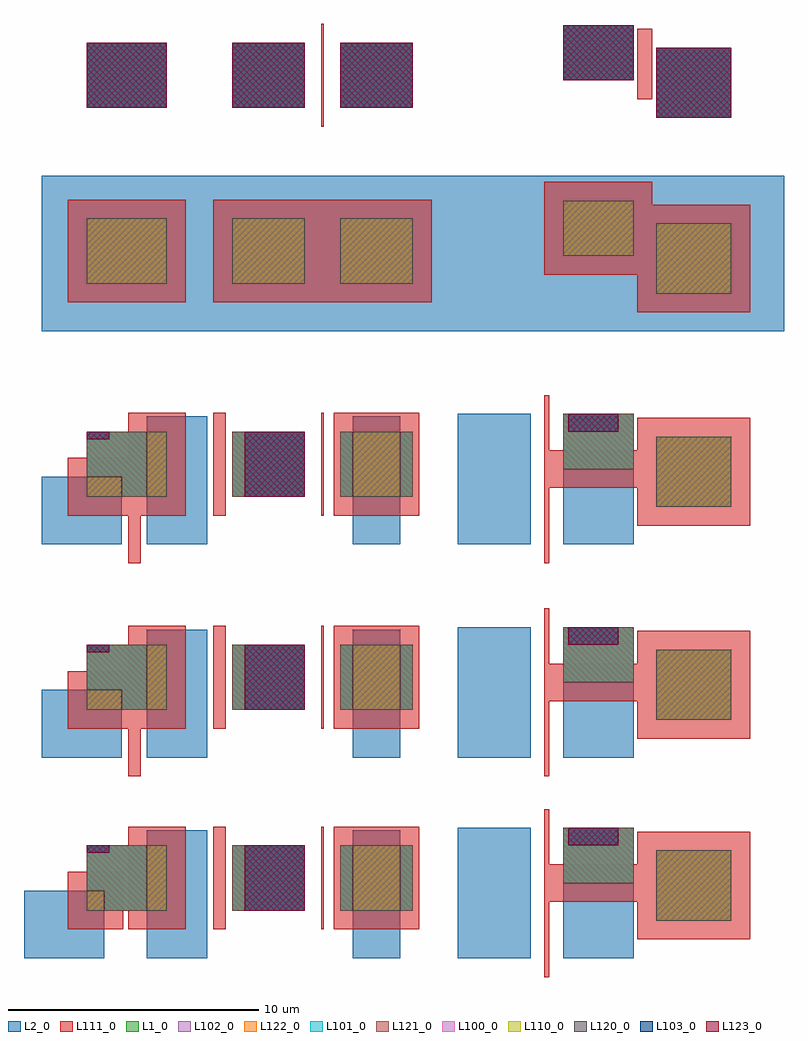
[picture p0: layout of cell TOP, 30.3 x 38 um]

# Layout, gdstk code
import gdstk
lib = gdstk.Library(unit=1e-6, precision=1e-09)
def R(c, l, rs):  # rectangles x0, y0, x1, y1
    for r in rs: c.add(gdstk.rectangle(r[:2], r[2:], *l))
def P(c, l, *ps):  # polygons
    for p in ps: c.add(gdstk.Polygon(p, *l))
L1_0 = (1, 0)
L2_0 = (2, 0)
L100_0 = (100, 0)
L101_0 = (101, 0)
L102_0 = (102, 0)
L103_0 = (103, 0)
L110_0 = (110, 0)
L111_0 = (111, 0)
L120_0 = (120, 0)
L121_0 = (121, 0)
L122_0 = (122, 0)
L123_0 = (123, 0)

child1 = lib.new_cell('CHILD1')
R(child1, L1_0, [(22.7,0,25.7,2.8), (0,0.4,3.2,3), (5.8,0.4,8.7,3), (10.1,0.4,13,3), (19,1.5,21.8,3.7)])
R(child1, L111_0, [(9.35,-0.35,9.45,3.75), (21.95,0.75,22.55,3.55)])

subcell = lib.new_cell('SUBCELL')
R(subcell, L2_0, [(0,0,3.2,2.7), (4.9,0,7.3,5.1), (13.1,0,15,5.1), (17.3,0,20.2,5.2), (21.5,0,24.3,3), (25.2,1.5,28.2,4.3), (0.7,8,3.9,10.7), (4.9,8,7.3,13.1), (13.1,8,15,13.1), (17.3,8,20.2,13.2), (21.5,8,24.3,11), (25.2,9.5,28.2,12.3)])
R(subcell, L100_0, [(25.2,1.5,28.2,4.3), (2.5,1.9,3.2,2.7), (4.9,1.9,5.7,4.5), (13.1,1.9,15,4.5), (25.2,9.5,28.2,12.3), (2.5,9.9,3.9,10.7), (4.9,9.9,5.7,12.5), (13.1,9.9,15,12.5)])
R(subcell, L101_0, [(3.2,1.9,3.9,2.7), (8.3,1.9,11.2,4.5), (12.6,1.9,13.1,4.5), (15,1.9,15.5,4.5), (21.5,3,24.3,5.2), (8.3,9.9,11.2,12.5), (12.6,9.9,13.1,12.5), (15,9.9,15.5,12.5), (21.5,11,24.3,13.2)])
P(subcell, L101_0, [(3.9,1.9),(3.9,2.7),(2.5,2.7),(2.5,4.5),(4.9,4.5),(4.9,1.9)],
  [(3.9,9.9),(3.9,10.7),(2.5,10.7),(2.5,12.5),(4.9,12.5),(4.9,9.9)])
R(subcell, L102_0, [(25.2,1.5,28.2,4.3), (8.3,1.9,8.8,4.5), (12.6,1.9,15.5,4.5), (25.2,9.5,28.2,12.3), (8.3,9.9,8.8,12.5), (12.6,9.9,15.5,12.5)])
P(subcell, L102_0, [(21.5,3),(21.5,5.2),(21.7,5.2),(21.7,4.5),(23.7,4.5),(23.7,5.2),(24.3,5.2),(24.3,3)],
  [(21.5,11),(21.5,13.2),(21.7,13.2),(21.7,12.5),(23.7,12.5),(23.7,13.2),(24.3,13.2),(24.3,11)],
  [(2.5,1.9),(2.5,4.2),(3.4,4.2),(3.4,4.5),(5.7,4.5),(5.7,1.9)],
  [(2.5,9.9),(2.5,12.2),(3.4,12.2),(3.4,12.5),(5.7,12.5),(5.7,9.9)])
R(subcell, L103_0, [(8.8,1.9,11.2,4.5), (2.5,4.2,3.4,4.5), (21.7,4.5,23.7,5.2), (8.8,9.9,11.2,12.5), (2.5,12.2,3.4,12.5), (21.7,12.5,23.7,13.2)])
R(subcell, L110_0, [(25.2,1.5,28.2,4.3), (2.5,1.9,3.2,2.7), (4.9,1.9,5.7,4.5), (13.1,1.9,15,4.5), (25.2,9.5,28.2,12.3), (2.5,9.9,3.9,10.7), (4.9,9.9,5.7,12.5), (13.1,9.9,15,12.5)])
R(subcell, L111_0, [(20.75,-0.75,20.95,3.75), (20.75,-0.75,20.95,5.95), (24.45,0.75,25.05,3.75), (1.75,1.15,3.95,3.45), (4.15,1.15,6.45,5.25), (7.55,1.15,8.05,5.25), (12.35,1.15,15.75,5.25), (20.95,2.25,24.45,3.75), (4.15,7.25,4.65,11.45), (20.75,7.25,20.95,11.75), (20.75,7.25,20.95,13.95), (24.45,8.75,25.05,11.75), (7.55,9.15,8.05,13.25), (12.35,9.15,15.75,13.25), (20.95,10.25,24.45,11.75)])
P(subcell, L111_0, [(24.45,0.75),(24.45,2.25),(25.05,2.25),(25.05,5.05),(28.95,5.05),(28.95,0.75)],
  [(24.45,8.75),(24.45,10.25),(25.05,10.25),(25.05,13.05),(28.95,13.05),(28.95,8.75)],
  [(4.15,7.25),(4.15,9.15),(1.75,9.15),(1.75,11.45),(4.15,11.45),(4.15,13.25),(6.45,13.25),(6.45,9.15),(4.65,9.15),(4.65,7.25)])
R(subcell, L120_0, [(25.2,1.5,28.2,4.3), (2.5,1.9,3.2,2.7), (4.9,1.9,5.7,4.5), (13.1,1.9,15,4.5), (25.2,9.5,28.2,12.3), (2.5,9.9,3.9,10.7), (4.9,9.9,5.7,12.5), (13.1,9.9,15,12.5)])
R(subcell, L121_0, [(8.3,1.9,11.2,4.5), (12.6,1.9,13.1,4.5), (15,1.9,15.5,4.5), (21.5,3,24.3,5.2), (8.3,9.9,11.2,12.5), (12.6,9.9,13.1,12.5), (15,9.9,15.5,12.5), (21.5,11,24.3,13.2)])
P(subcell, L121_0, [(3.9,9.9),(3.9,10.7),(2.5,10.7),(2.5,12.5),(4.9,12.5),(4.9,9.9)],
  [(3.2,1.9),(3.2,2.7),(2.5,2.7),(2.5,4.5),(4.9,4.5),(4.9,1.9)])
R(subcell, L122_0, [(25.2,1.5,28.2,4.3), (8.3,1.9,8.8,4.5), (12.6,1.9,15.5,4.5), (25.2,9.5,28.2,12.3), (8.3,9.9,8.8,12.5), (12.6,9.9,15.5,12.5)])
P(subcell, L122_0, [(21.5,3),(21.5,5.2),(21.7,5.2),(21.7,4.5),(23.7,4.5),(23.7,5.2),(24.3,5.2),(24.3,3)],
  [(21.5,11),(21.5,13.2),(21.7,13.2),(21.7,12.5),(23.7,12.5),(23.7,13.2),(24.3,13.2),(24.3,11)],
  [(2.5,1.9),(2.5,4.2),(3.4,4.2),(3.4,4.5),(5.7,4.5),(5.7,1.9)],
  [(2.5,9.9),(2.5,12.2),(3.4,12.2),(3.4,12.5),(5.7,12.5),(5.7,9.9)])
R(subcell, L123_0, [(8.8,1.9,11.2,4.5), (2.5,4.2,3.4,4.5), (21.7,4.5,23.7,5.2), (8.8,9.9,11.2,12.5), (2.5,12.2,3.4,12.5), (21.7,12.5,23.7,13.2)])
subcell.add(gdstk.Reference(child1, (2.5,1.5)))
subcell.add(gdstk.Reference(child1, (2.5,9.5)))

top = lib.new_cell('TOP')
R(top, L2_0, [(0,16.5,3.2,19.2), (4.2,16.5,6.6,21.6), (12.4,16.5,14.3,21.6), (16.6,16.5,19.5,21.7), (20.8,16.5,23.6,19.5), (24.5,18,27.5,20.8), (0,25,29.6,31.2)])
R(top, L100_0, [(24.5,18,27.5,20.8), (1.8,18.4,3.2,19.2), (4.2,18.4,5,21), (12.4,18.4,14.3,21), (24.5,26.5,27.5,29.3), (1.8,26.9,5,29.5), (7.6,26.9,10.5,29.5), (11.9,26.9,14.8,29.5), (20.8,28,23.6,30.2)])
R(top, L101_0, [(7.6,18.4,10.5,21), (11.9,18.4,12.4,21), (14.3,18.4,14.8,21), (20.8,19.5,23.6,21.7), (24.5,33.5,27.5,36.3), (1.8,33.9,2.5,34.7), (2.5,33.9,3.2,34.7), (4.2,33.9,5,36.5), (7.6,33.9,10.5,36.5), (11.9,33.9,12.4,36.5), (12.4,33.9,14.3,36.5), (14.3,33.9,14.8,36.5), (20.8,35,23.6,37.2)])
P(top, L101_0, [(3.2,18.4),(3.2,19.2),(1.8,19.2),(1.8,21),(4.2,21),(4.2,18.4)],
  [(3.2,33.9),(3.2,34.7),(1.8,34.7),(1.8,36.5),(4.2,36.5),(4.2,33.9)])
R(top, L102_0, [(24.5,18,27.5,20.8), (7.6,18.4,8.1,21), (11.9,18.4,14.8,21), (24.5,26.5,27.5,29.3), (1.8,26.9,5,29.5), (7.6,26.9,10.5,29.5), (11.9,26.9,14.8,29.5), (20.8,28,23.6,30.2)])
P(top, L102_0, [(20.8,19.5),(20.8,21.7),(21,21.7),(21,21),(23,21),(23,21.7),(23.6,21.7),(23.6,19.5)],
  [(1.8,18.4),(1.8,20.7),(2.7,20.7),(2.7,21),(5,21),(5,18.4)])
R(top, L103_0, [(8.1,18.4,10.5,21), (1.8,20.7,2.7,21), (21,21,23,21.7), (24.5,33.5,27.5,36.3), (7.6,33.9,8.1,36.5), (8.1,33.9,10.5,36.5), (11.9,33.9,14.8,36.5), (1.8,36.2,2.7,36.5), (21,36.5,23,37.2)])
P(top, L103_0, [(20.8,35),(20.8,37.2),(21,37.2),(21,36.5),(23,36.5),(23,37.2),(23.6,37.2),(23.6,35)],
  [(1.8,33.9),(1.8,36.2),(2.7,36.2),(2.7,36.5),(5,36.5),(5,33.9)])
R(top, L110_0, [(24.5,18,27.5,20.8), (1.8,18.4,3.2,19.2), (4.2,18.4,5,21), (12.4,18.4,14.3,21), (24.5,26.5,27.5,29.3), (1.8,26.9,5,29.5), (7.6,26.9,10.5,29.5), (11.9,26.9,14.8,29.5), (20.8,28,23.6,30.2)])
R(top, L111_0, [(3.45,15.75,3.95,19.95), (20.05,15.75,20.25,20.25), (20.05,15.75,20.25,22.45), (23.75,17.25,24.35,20.25), (6.85,17.65,7.35,21.75), (11.65,17.65,15.05,21.75), (20.25,18.75,23.75,20.25), (1.05,26.15,5.75,30.25), (6.85,26.15,11.15,30.25), (11.25,26.15,15.55,30.25)])
P(top, L111_0, [(23.75,17.25),(23.75,18.75),(24.35,18.75),(24.35,21.55),(28.25,21.55),(28.25,17.25)],
  [(23.75,25.75),(23.75,27.25),(24.35,27.25),(24.35,30.05),(28.25,30.05),(28.25,25.75)],
  [(3.45,15.75),(3.45,17.65),(1.05,17.65),(1.05,19.95),(3.45,19.95),(3.45,21.75),(5.75,21.75),(5.75,17.65),(3.95,17.65),(3.95,15.75)],
  [(20.05,27.25),(20.05,30.95),(24.35,30.95),(24.35,30.05),(23.75,30.05),(23.75,27.25)])
R(top, L120_0, [(24.5,18,27.5,20.8), (1.8,18.4,3.2,19.2), (4.2,18.4,5,21), (12.4,18.4,14.3,21), (24.5,26.5,27.5,29.3), (1.8,26.9,5,29.5), (7.6,26.9,10.5,29.5), (11.9,26.9,14.8,29.5), (20.8,28,23.6,30.2)])
R(top, L121_0, [(7.6,18.4,10.5,21), (11.9,18.4,12.4,21), (14.3,18.4,14.8,21), (20.8,19.5,23.6,21.7), (24.5,33.5,27.5,36.3), (1.8,33.9,3.2,34.7), (4.2,33.9,5,36.5), (7.6,33.9,10.5,36.5), (11.9,33.9,12.4,36.5), (12.4,33.9,14.3,36.5), (14.3,33.9,14.8,36.5), (20.8,35,23.6,37.2)])
P(top, L121_0, [(3.2,18.4),(3.2,19.2),(1.8,19.2),(1.8,21),(4.2,21),(4.2,18.4)],
  [(3.2,33.9),(3.2,34.7),(1.8,34.7),(1.8,36.5),(4.2,36.5),(4.2,33.9)])
R(top, L122_0, [(24.5,18,27.5,20.8), (7.6,18.4,8.1,21), (11.9,18.4,14.8,21), (24.5,26.5,27.5,29.3), (1.8,26.9,5,29.5), (7.6,26.9,10.5,29.5), (11.9,26.9,14.8,29.5), (20.8,28,23.6,30.2)])
P(top, L122_0, [(20.8,19.5),(20.8,21.7),(21,21.7),(21,21),(23,21),(23,21.7),(23.6,21.7),(23.6,19.5)],
  [(1.8,18.4),(1.8,20.7),(2.7,20.7),(2.7,21),(5,21),(5,18.4)])
R(top, L123_0, [(8.1,18.4,10.5,21), (1.8,20.7,2.7,21), (21,21,23,21.7), (24.5,33.5,27.5,36.3), (7.6,33.9,8.1,36.5), (8.1,33.9,10.5,36.5), (11.9,33.9,14.8,36.5), (1.8,36.2,2.7,36.5), (21,36.5,23,37.2)])
P(top, L123_0, [(20.8,35),(20.8,37.2),(21,37.2),(21,36.5),(23,36.5),(23,37.2),(23.6,37.2),(23.6,35)],
  [(1.8,33.9),(1.8,36.2),(2.7,36.2),(2.7,36.5),(5,36.5),(5,33.9)])
top.add(gdstk.Reference(child1, (1.8,18)))
top.add(gdstk.Reference(child1, (1.8,26.5)))
top.add(gdstk.Reference(child1, (1.8,33.5)))
top.add(gdstk.Reference(subcell, (-0.7,0)))

lib.write_gds('TOP.gds')
